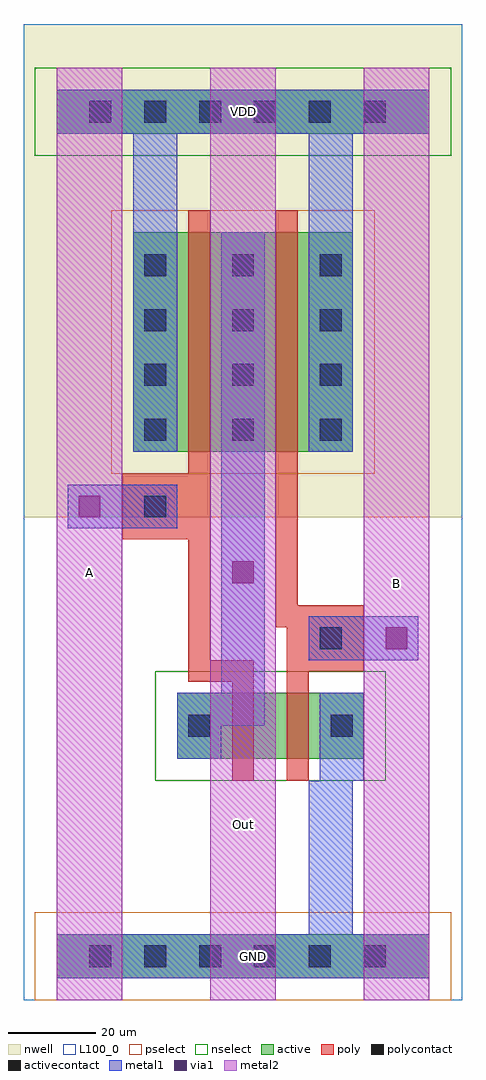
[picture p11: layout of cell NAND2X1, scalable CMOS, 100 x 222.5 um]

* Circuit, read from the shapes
.subckt NAND2X1 A B GND Out VDD
M1 n1 A Out GND nfet w=15u l=5u
M2 GND B n1 GND nfet w=15u l=5u
M3 Out A VDD VDD pfet w=50u l=5u
M4 VDD B Out VDD pfet w=50u l=5u
.ends

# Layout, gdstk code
import gdstk
lib = gdstk.Library(unit=1e-6, precision=1e-09)
def R(c, l, rs):  # rectangles x0, y0, x1, y1
    for r in rs: c.add(gdstk.rectangle(r[:2], r[2:], *l))
def A(c, l, x, y, w, h, nx, ny, dx, dy):  # array of equal rectangles
    R(c, l, [(x+i*dx, y+j*dy, x+i*dx+w, y+j*dy+h) for i in range(nx) for j in range(ny)])
nwell = (42, 0)
active = (43, 0)
pselect = (44, 0)
nselect = (45, 0)
poly = (46, 0)
polycontact = (47, 0)
activecontact = (48, 0)
metal1 = (49, 0)
via1 = (50, 0)
metal2 = (51, 0)
L100_0 = (100, 0)

nand2x1 = lib.new_cell('NAND2X1')
R(nand2x1, nwell, [(0,110,100,222.5), (7.5,112.5,92.5,190), (7.5,112.5,92.5,190), (7.5,112.5,92.5,190), (7.5,112.5,92.5,190), (0,190,100,215), (0,190,100,215), (0,190,100,215), (0,190,100,215), (7.5,215,92.5,222.5), (7.5,215,92.5,222.5), (7.5,215,92.5,222.5), (7.5,215,92.5,222.5)])
R(nand2x1, active, [(7.5,5,92.5,15), (7.5,5,92.5,15), (7.5,5,92.5,15), (7.5,5,92.5,15), (35,55,77.5,70), (35,55,77.5,70), (35,55,77.5,70), (35,55,77.5,70), (25,125,75,175), (25,125,75,175), (25,125,75,175), (25,125,75,175), (7.5,197.5,92.5,207.5), (7.5,197.5,92.5,207.5), (7.5,197.5,92.5,207.5), (7.5,197.5,92.5,207.5)])
R(nand2x1, pselect, [(2.5,0,97.5,20), (2.5,0,97.5,20), (2.5,0,97.5,20), (2.5,0,97.5,20), (20,120,80,180), (20,120,80,180), (20,120,80,180), (20,120,80,180)])
R(nand2x1, nselect, [(30,50,82.5,75), (30,50,82.5,75), (30,50,82.5,75), (30,50,82.5,75), (2.5,192.5,97.5,212.5), (2.5,192.5,97.5,212.5), (2.5,192.5,97.5,212.5), (2.5,192.5,97.5,212.5)])
R(nand2x1, poly, [(47.5,50,52.5,72.5), (60,50,65,75), (37.5,72.5,52.5,77.5), (60,75,77.5,85), (37.5,77.5,42.5,105), (57.5,85,77.5,90), (57.5,90,62.5,180), (22.5,105,42.5,120), (37.5,120,42.5,180)])
R(nand2x1, polycontact, [(67.5,80,72.5,85), (67.5,80,72.5,85), (67.5,80,72.5,85), (67.5,80,72.5,85), (27.5,110,32.5,115), (27.5,110,32.5,115), (27.5,110,32.5,115), (27.5,110,32.5,115)])
A(nand2x1, activecontact, 15, 7.5, 5, 5, 6, 2, 12.5, 192.5)
A(nand2x1, activecontact, 27.5, 127.5, 5, 5, 3, 4, 20, 12.5)
R(nand2x1, activecontact, [(37.5,60,42.5,65), (37.5,60,42.5,65), (37.5,60,42.5,65), (37.5,60,42.5,65), (70,60,75,65), (70,60,75,65), (70,60,75,65), (70,60,75,65)])
R(nand2x1, metal1, [(7.5,5,92.5,15), (65,15,75,50), (67.5,50,77.5,70), (35,55,45,62.5), (35,62.5,55,70), (45,70,55,175), (65,77.5,90,87.5), (10,107.5,35,117.5), (25,125,35,197.5), (65,125,75,197.5), (7.5,197.5,92.5,207.5)])
R(nand2x1, via1, [(82.5,80,87.5,85), (82.5,80,87.5,85), (82.5,80,87.5,85), (82.5,80,87.5,85), (47.5,95,52.5,100), (47.5,95,52.5,100), (47.5,95,52.5,100), (47.5,95,52.5,100), (12.5,110,17.5,115), (12.5,110,17.5,115), (12.5,110,17.5,115), (12.5,110,17.5,115)])
A(nand2x1, metal2, 7.5, 0, 15, 212.5, 3, 1, 35, 0)
R(nand2x1, L100_0, [(0,0,100,222.5)])
nand2x1.add(gdstk.Label('GND', (52.5,10), layer=49, texttype=1))
nand2x1.add(gdstk.Label('VDD', (50,202.5), layer=49, texttype=1))
nand2x1.add(gdstk.Label('A', (15,97.5), layer=51, texttype=1))
nand2x1.add(gdstk.Label('B', (85,95), layer=51, texttype=1))
nand2x1.add(gdstk.Label('Out', (50,40), layer=51, texttype=1))

lib.write_gds('NAND2X1.gds')
